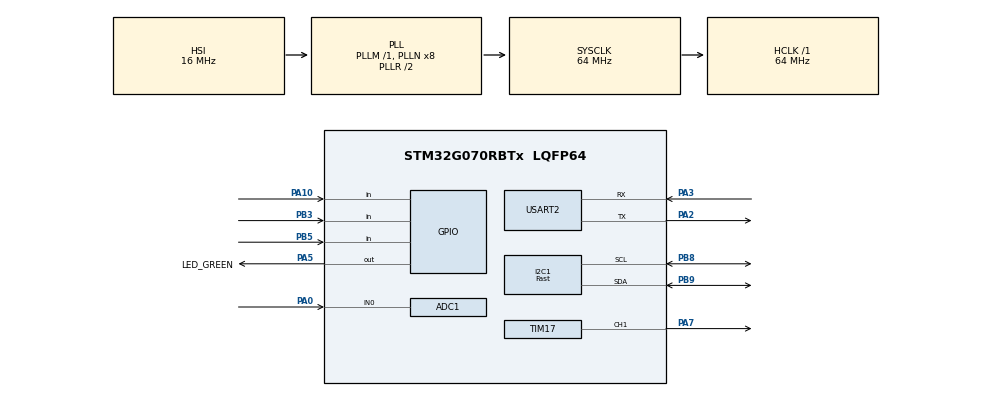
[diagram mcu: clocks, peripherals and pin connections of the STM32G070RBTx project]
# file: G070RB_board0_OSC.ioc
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ADC1.Channel-1\#ChannelRegularConversion=ADC_CHANNEL_0
ADC1.ClockPrescaler=ADC_CLOCK_SYNC_PCLK_DIV2
ADC1.ContinuousConvMode=ENABLE
ADC1.DMAContinuousRequests=DISABLE
ADC1.NbrOfConversion=1
ADC1.NbrOfConversionFlag=1
ADC1.Overrun=ADC_OVR_DATA_OVERWRITTEN
ADC1.Rank-1\#ChannelRegularConversion=1
ADC1.Resolution=ADC_RESOLUTION_6B
ADC1.SamplingTime-1\#ChannelRegularConversion=ADC_SAMPLINGTIME_COMMON_1
ADC1.SamplingTimeCommon1=ADC_SAMPLETIME_1CYCLE_5
ADC1.SamplingTimeCommon2=ADC_SAMPLETIME_1CYCLE_5
ADC1.SelectedChannel=ADC_CHANNEL_0
ADC1.Sequencer=FULLY_CONFIGURABLE
ADC1.master=1
I2C1.I2C_Speed_Mode=I2C_Fast
I2C1.Timing=0x00602173
Mcu.Family=STM32G0
Mcu.Name=STM32G070RBTx
Mcu.Package=LQFP64
NVIC.TIM16_IRQn=true\:0\:0\:false\:false\:true\:true\:true\:true
PA0.Mode=IN0
PA0.Signal=ADC1_IN0
PA10.GPIO_PuPd=GPIO_PULLUP
PA10.Signal=GPIO_Input
PA13.GPIO_Label=TMS
PA13.Mode=Serial_Wire
PA13.Signal=SYS_SWDIO
PA14-BOOT0.GPIO_Label=TCK
PA14-BOOT0.Mode=Serial_Wire
PA14-BOOT0.Signal=SYS_SWCLK
PA2.GPIO_PuPd=GPIO_PULLUP
PA2.Mode=Asynchronous
PA2.Signal=USART2_TX
PA3.GPIO_PuPd=GPIO_PULLUP
PA3.Mode=Asynchronous
PA3.Signal=USART2_RX
PA5.GPIO_Label=LED_GREEN
PA5.GPIO_Speed=GPIO_SPEED_FREQ_HIGH
PA5.Signal=GPIO_Output
PA7.Signal=S_TIM17_CH1
PB3.GPIO_PuPd=GPIO_PULLUP
PB3.Signal=GPIO_Input
PB5.GPIO_PuPd=GPIO_PULLUP
PB5.Signal=GPIO_Input
PB8.Mode=I2C
PB8.Signal=I2C1_SCL
PB9.Mode=I2C
PB9.Signal=I2C1_SDA
PC13.Mode=SYS_WakeUp1
PC13.Signal=SYS_WKUP2
PC14-OSC32_IN\ (PC14).Mode=LSE-External-Oscillator
PC14-OSC32_IN\ (PC14).Signal=RCC_OSC32_IN
PC15-OSC32_OUT\ (PC15).Mode=LSE-External-Oscillator
PC15-OSC32_OUT\ (PC15).Signal=RCC_OSC32_OUT
PF0-OSC_IN\ (PF0).GPIO_Label=MCO
PF0-OSC_IN\ (PF0).Mode=HSE-External-Clock-Source
PF0-OSC_IN\ (PF0).Signal=RCC_OSC_IN
ProjectManager.HeapSize=0x200
ProjectManager.StackSize=0x400
ProjectManager.TargetToolchain=STM32CubeIDE
RCC.ADCFreq_Value=64000000
RCC.AHBFreq_Value=64000000
RCC.CortexFreq_Value=64000000
RCC.EXTERNAL_CLOCK_VALUE=12288000
RCC.HCLKFreq_Value=64000000
RCC.HSE_VALUE=8000000
RCC.HSI_VALUE=16000000
RCC.SYSCLKFreq_VALUE=64000000
RCC.SYSCLKSource=RCC_SYSCLKSOURCE_PLLCLK
RCC.VCOOutputFreq_Value=128000000
SH.S_TIM17_CH1.0=TIM17_CH1,Output Compare1 CH1
TIM16.AutoReloadPreload=TIM_AUTORELOAD_PRELOAD_ENABLE
TIM16.Period=999
TIM16.Prescaler=63
TIM17.AutoReloadPreload=TIM_AUTORELOAD_PRELOAD_ENABLE
TIM17.Channel=TIM_CHANNEL_1
TIM17.OC1Preload=ENABLE
TIM17.OCMode_1=TIM_OCMODE_TOGGLE
TIM17.Period=49
TIM17.Prescaler=63999
TIM17.Pulse=24
USART2.VirtualMode-Asynchronous=VM_ASYNC
USART2.WordLength=WORDLENGTH_7B
VP_TIM16_VS_ClockSourceINT.Mode=Enable_Timer
VP_TIM17_VS_ClockSourceINT.Mode=Enable_Timer
board=NUCLEO-G070RB

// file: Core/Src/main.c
/* USER CODE BEGIN Header */
/**
  ******************************************************************************
  * @file           : main.c
  * @brief          : Main program body
  ******************************************************************************
  * @attention
  *
  * Copyright (c) 2023 STMicroelectronics.
  * All rights reserved.
  *
  * This software is licensed under terms that can be found in the LICENSE file
  * in the root directory of this software component.
  * If no LICENSE file comes with this software, it is provided AS-IS.
  *
  ******************************************************************************
  */
/* USER CODE END Header */
#include "main.h"

/* USER CODE BEGIN Includes */
#include <stdio.h>
#include "my_SSD1306.h"
#include "PushButtons.h"

/* USER CODE END Includes */

ADC_HandleTypeDef hadc1;

I2C_HandleTypeDef hi2c1;

TIM_HandleTypeDef htim16;
TIM_HandleTypeDef htim17;

UART_HandleTypeDef huart2;

/* USER CODE BEGIN PV */

volatile uint16_t ADC_result_buffer[256];
volatile uint8_t ADC_buffer_count=255; // 0 ... 255 running

/* USER CODE END PV */

void SystemClock_Config(void);
static void MX_GPIO_Init(void);
static void MX_USART2_UART_Init(void);
static void MX_I2C1_Init(void);
static void MX_TIM17_Init(void);
static void MX_ADC1_Init(void);
static void MX_TIM16_Init(void);

/* USER CODE BEGIN 0 */
void HAL_TIM_PeriodElapsedCallback(TIM_HandleTypeDef *htim){

    if(htim == &htim16) {
    	if (ADC_buffer_count < 255) {
            HAL_GPIO_TogglePin(GPIOA, GPIO_PIN_5);
            ADC_result_buffer[ADC_buffer_count++]=HAL_ADC_GetValue(&hadc1);
    	}
    }
}
/* USER CODE END 0 */

int main(void)
{
  /* USER CODE BEGIN 1 */
    setbuf(stdout, NULL);
  /* USER CODE END 1 */

  /* MCU Configuration--------------------------------------------------------*/

  /* Reset of all peripherals, Initializes the Flash interface and the Systick. */
  HAL_Init();

  /* Configure the system clock */
  SystemClock_Config();

  /* Initialize all configured peripherals */
  MX_GPIO_Init();
  MX_USART2_UART_Init();
  MX_I2C1_Init();
  MX_TIM17_Init();
  MX_ADC1_Init();
  MX_TIM16_Init();
  /* USER CODE BEGIN 2 */

	HAL_ADCEx_Calibration_Start(&hadc1);

	HAL_ADC_Start(&hadc1);
	//HAL_ADC_Start_DMA(&hadc1, (uint32_t *)&ADC_result_buffer, sizeof(ADC_result_buffer) / sizeof(ADC_result_buffer[0]));
	//HAL_ADC_Start_DMA(&hadc1, (uint32_t *)&ADC_result_buffer, 1);
	//hdma_adc1.Instance->CCR &= ~(DMA_IT_TC | DMA_IT_HT);
	//   __HAL_DMA_DISABLE_IT(&hdma_adc, DMA_IT_TC);
	//__HAL_DMA_DISABLE_IT(&hdma_adc1, DMA_IT_TC);

	HAL_TIM_Base_Start_IT(&htim16);

	HAL_TIM_PWM_Start(&htim17, TIM_CHANNEL_1);

	OLED_Init(&hi2c1);

	OLED_clear(); // and set cursor to 0,0
	//      12345678901234
	printf("Boot nucleo\n");
	printf("  G070RB");

	HAL_Delay(1000);

	OLED_clear(); // and set cursor to 0,0
	//printf("push button\n");

	/*
	 * TIM17 仮PWMの状況を表示する
	 * プリスケーラー 63999 PSC
	 * リロード値 49 ARR
	 * 比較値 24 CCR1
	 *
	 * 周波数 64MHz / (PSC+1) / (ARR+1) = 20Hz
	 * ON Duty = (CCR1 + 1) / (ARR + 1) = 50%
	 *
	 *  PSC  ARR CCR1  Hz Duty
	 * 63999  49  24   20  50
	 * 63999   9   4  100  50
	 *
	 */

	TIM17->PSC = 639;
	TIM17->ARR = 9;
	TIM17->CCR1 = 4;

#if 0
	printf("PSC ARR CCR1\n");
	printf("%d %d %d", TIM17->PSC, TIM17->ARR, TIM17->CCR1);

	while(
			HAL_GPIO_ReadPin(GPIOB, GPIO_PIN_5) &
			HAL_GPIO_ReadPin(GPIOB, GPIO_PIN_3) &
			HAL_GPIO_ReadPin(GPIOA, GPIO_PIN_10)
			) {}

	OLED_clear(); // and set cursor to 0,0
	HAL_Delay(100);
#endif

	printf("TIM17 %dHz\n", 64000000 / ((TIM17->PSC)+1) / ((TIM17->ARR)+1));
	printf("duty %d%%", ((TIM17->CCR1)+1) * 100 / ((TIM17->ARR)+1));

	while(
			HAL_GPIO_ReadPin(GPIOB, GPIO_PIN_5) &
			HAL_GPIO_ReadPin(GPIOB, GPIO_PIN_3) &
			HAL_GPIO_ReadPin(GPIOA, GPIO_PIN_10)
			) {}

	OLED_clear(); // and set cursor to 0,0
	HAL_Delay(100);

	// 上から見て PA10 PB3 PB5 の順番 CPU内プルアップ必要

	Button_Init(GPIOB, GPIO_PIN_5);   // bit 0
	Button_Init(GPIOB, GPIO_PIN_3);   // bit 1
	Button_Init(GPIOA, GPIO_PIN_10);  // bit 2

	enum {
		SAMPLING, STOPPED
	} AD_STATUS = SAMPLING;

	enum {
		RISE, FALL
	} TRIGGER_SELECT = RISE;

	/*
	 * TIM16で割り込みをかけてADしている
	 */

	struct {
		char *name;
		uint16_t prescaler;
		uint16_t reload;
	} sampling_table[] = {
			{ "320k", 24, 7 },
			{ "250k", 31, 7 },
			{ "100k", 63, 9 },
			{ " 50k", 63, 19 },
			{ " 25k", 63, 39 },
			{ " 10k", 63, 99 },
			{ "  5k", 63, 199 },
			{ "2.5k", 63, 399 },
			{ "  1k", 63, 999 },
			{ " 100", 639, 999 }
	};

#define SAMPLING_VALUE_MAX 9

	uint8_t SAMPLING_VALUE = 3;

	/*
	 * 単にSAMPLING_VALUE からペリフェラルレジスタをセットするだけの関数
	 */

	void set_sampling_rate() {
		TIM16->PSC = sampling_table[SAMPLING_VALUE].prescaler;
		TIM16->ARR = sampling_table[SAMPLING_VALUE].reload;
	}

	set_sampling_rate();

  /* USER CODE END 2 */

  /* Infinite loop */
  while (1)
  {

    /* USER CODE BEGIN 3 */

	  /*
	   * とにかく先に状況をを描画する
	   */

	  OLED_set_cursor(0, 2);
	  if (AD_STATUS == SAMPLING) {
		  printf("RUN  ");
	  } else {
		  printf("STOP ");
	  }
	  if (TRIGGER_SELECT == RISE) {
		  printf("_|- ");
	  } else {
		  printf("-|_ ");
	  }
	  printf("%s", sampling_table[SAMPLING_VALUE].name);

	  if (AD_STATUS == SAMPLING) {

		  // AD sampling main

		  ADC_buffer_count = 0; // means start sampling

		  //OLED_set_cursor(0, 0);
		  //printf("Running...");
		  while(ADC_buffer_count < 255) {} // wait finish sampling. stored ADC_result_buffer[0...127]

		  /*
		   * bit 0 -+  display_buffer_0  (AD>>2) = 15
		   * bit 1  |
		   *  ..
		   * bit 7 -+                    (AD>>2) = 8
		   *
		   * bit 0 -+  display_buffer_1  (AD>>2) = 7
		   * bit 1  |
		   *  ..
		   * bit 7 -+                    (AD>>2) = 0
		   *
		   */

		  uint8_t display_buffer_1[256];
		  uint8_t display_buffer_0[256];
		  uint8_t trigger;
		  trigger=0;

		  for (uint8_t i=0; i<255; i++) {
			  ADC_result_buffer[i] = ADC_result_buffer[i] >> 2;
			  uint8_t y0, y1;
			  if (i<1) {
				  y0=ADC_result_buffer[i];
				  y1=y0;
			  } else {
				  if (ADC_result_buffer[i]>ADC_result_buffer[i-1]) {
					  y0=ADC_result_buffer[i-1];
					  y1=ADC_result_buffer[i];
				  } else {
					  y0=ADC_result_buffer[i];
					  y1=ADC_result_buffer[i-1];
				  }
				  /*
				   * ついでにトリガーを探す 100までの限定
				   */
				  if ( (trigger==0) && (i>8) && (i<100) && (y0<8) && (y1>7)){
					  if ((TRIGGER_SELECT == RISE) && (ADC_result_buffer[i-1]<ADC_result_buffer[i])) {
						  trigger=i-8;
					  } else {
						  if ((TRIGGER_SELECT == FALL) && (ADC_result_buffer[i-1]>ADC_result_buffer[i])) {
							  trigger=i-8;
						  }
					  }
				  }

			  }

			  /*  今の値と前の値を使ってバー状にドットを作る。
			   *  0<= y0 <= y1 <= 0
			   *  for example...
			   *  y0=3, y1=10 ... result_0 0b1110 0000 result_1 0b0001 1111
			   *
			   *  y1=10 means result_16_1 = 0b1111 1111 1110 0000 = (0xffff) << (15-y1)
			   *  y0=3  means result_16_0 = 0b0001 1111 1111 1111 = (0xffff) >> y0
			   *                               AND       AND
			   *                             result_1   result_0
			   */

			  uint16_t result_16_1 = (0xffff) << (15-y1);
			  uint16_t result_16_0 = (0xffff) >> y0;
			  display_buffer_0[i] = ( result_16_1 & result_16_0 ) & 0xff;
			  display_buffer_1[i] = ( result_16_1 & result_16_0 ) >> 8;
		  }

		  OLED_set_cursor(0, 0);
		  //OLED_put_len(&ADC_result_buffer, 128);
//		  OLED_put_len(trigger + (&display_buffer_0), 128);
		  OLED_put_len((uint8_t *)&display_buffer_0+trigger, 128);
		  OLED_set_cursor(0, 1);
		  OLED_put_len((uint8_t *)&display_buffer_1+trigger, 128);

		  //OLED_set_cursor(0, 0);
		  //printf("%d %d %d  ", ADC_result_buffer[0], TIM16->PSC, TIM16->ARR);

	  }

	  //   PA10 PB3 PB5
	  // bit 2   1   0

	uint32_t k = Button_Loop();
	if (k) {
		Button_Clear();
		if (AD_STATUS == SAMPLING) {
			if (k & 0b100) {
				// TRIGGER_SELECT = (!(TRIGGER_SELECT)) & 1;
				AD_STATUS = STOPPED;
			} else {
				// change sampling rate
				// TIM16->PSC, TIM16->ARR
				if (k & 0b10) {
					if (SAMPLING_VALUE>0) { SAMPLING_VALUE--; }
				} else {
					if (SAMPLING_VALUE < SAMPLING_VALUE_MAX) { SAMPLING_VALUE++; }
				}
				/*
				TIM16->PSC = sampling_table[SAMPLING_VALUE].prescaler;
				TIM16->ARR = sampling_table[SAMPLING_VALUE].reload;
				 */
				set_sampling_rate();
			}
		} else {
			if (k & 0b100) {
				// TRIGGER_SELECT = (!(TRIGGER_SELECT)) & 1;
				AD_STATUS = SAMPLING;
			} else {
				if (k & 0b10) {
					TRIGGER_SELECT=FALL;
				} else {
					TRIGGER_SELECT=RISE;
				}
			}
		}
	}

  }
  /* USER CODE END 3 */
}

void SystemClock_Config(void)
{
  RCC_OscInitTypeDef RCC_OscInitStruct = {0};
  RCC_ClkInitTypeDef RCC_ClkInitStruct = {0};

  /** Configure the main internal regulator output voltage
  */
  HAL_PWREx_ControlVoltageScaling(PWR_REGULATOR_VOLTAGE_SCALE1);

  /** Initializes the RCC Oscillators according to the specified parameters
  * in the RCC_OscInitTypeDef structure.
  */
  RCC_OscInitStruct.OscillatorType = RCC_OSCILLATORTYPE_HSI;
  RCC_OscInitStruct.HSIState = RCC_HSI_ON;
  RCC_OscInitStruct.HSIDiv = RCC_HSI_DIV1;
  RCC_OscInitStruct.HSICalibrationValue = RCC_HSICALIBRATION_DEFAULT;
  RCC_OscInitStruct.PLL.PLLState = RCC_PLL_ON;
  RCC_OscInitStruct.PLL.PLLSource = RCC_PLLSOURCE_HSI;
  RCC_OscInitStruct.PLL.PLLM = RCC_PLLM_DIV1;
  RCC_OscInitStruct.PLL.PLLN = 8;
  RCC_OscInitStruct.PLL.PLLP = RCC_PLLP_DIV2;
  RCC_OscInitStruct.PLL.PLLR = RCC_PLLR_DIV2;
  if (HAL_RCC_OscConfig(&RCC_OscInitStruct) != HAL_OK)
  {
    Error_Handler();
  }

  /** Initializes the CPU, AHB and APB buses clocks
  */
  RCC_ClkInitStruct.ClockType = RCC_CLOCKTYPE_HCLK|RCC_CLOCKTYPE_SYSCLK
                              |RCC_CLOCKTYPE_PCLK1;
  RCC_ClkInitStruct.SYSCLKSource = RCC_SYSCLKSOURCE_PLLCLK;
  RCC_ClkInitStruct.AHBCLKDivider = RCC_SYSCLK_DIV1;
  RCC_ClkInitStruct.APB1CLKDivider = RCC_HCLK_DIV1;

  if (HAL_RCC_ClockConfig(&RCC_ClkInitStruct, FLASH_LATENCY_2) != HAL_OK)
  {
    Error_Handler();
  }
}

static void MX_ADC1_Init(void)
{

  ADC_ChannelConfTypeDef sConfig = {0};

  /** Configure the global features of the ADC (Clock, Resolution, Data Alignment and number of conversion)
  */
  hadc1.Instance = ADC1;
  hadc1.Init.ClockPrescaler = ADC_CLOCK_SYNC_PCLK_DIV2;
  hadc1.Init.Resolution = ADC_RESOLUTION_6B;
  hadc1.Init.DataAlign = ADC_DATAALIGN_RIGHT;
  hadc1.Init.ScanConvMode = ADC_SCAN_DISABLE;
  hadc1.Init.EOCSelection = ADC_EOC_SINGLE_CONV;
  hadc1.Init.LowPowerAutoWait = DISABLE;
  hadc1.Init.LowPowerAutoPowerOff = DISABLE;
  hadc1.Init.ContinuousConvMode = ENABLE;
  hadc1.Init.NbrOfConversion = 1;
  hadc1.Init.ExternalTrigConv = ADC_SOFTWARE_START;
  hadc1.Init.ExternalTrigConvEdge = ADC_EXTERNALTRIGCONVEDGE_NONE;
  hadc1.Init.DMAContinuousRequests = DISABLE;
  hadc1.Init.Overrun = ADC_OVR_DATA_OVERWRITTEN;
  hadc1.Init.SamplingTimeCommon1 = ADC_SAMPLETIME_1CYCLE_5;
  hadc1.Init.SamplingTimeCommon2 = ADC_SAMPLETIME_1CYCLE_5;
  hadc1.Init.OversamplingMode = DISABLE;
  hadc1.Init.TriggerFrequencyMode = ADC_TRIGGER_FREQ_HIGH;
  if (HAL_ADC_Init(&hadc1) != HAL_OK)
  {
    Error_Handler();
  }

  /** Configure Regular Channel
  */
  sConfig.Channel = ADC_CHANNEL_0;
  sConfig.Rank = ADC_REGULAR_RANK_1;
  sConfig.SamplingTime = ADC_SAMPLINGTIME_COMMON_1;
  if (HAL_ADC_ConfigChannel(&hadc1, &sConfig) != HAL_OK)
  {
    Error_Handler();
  }

}

static void MX_I2C1_Init(void)
{

  hi2c1.Instance = I2C1;
  hi2c1.Init.Timing = 0x00602173;
  hi2c1.Init.OwnAddress1 = 0;
  hi2c1.Init.AddressingMode = I2C_ADDRESSINGMODE_7BIT;
  hi2c1.Init.DualAddressMode = I2C_DUALADDRESS_DISABLE;
  hi2c1.Init.OwnAddress2 = 0;
  hi2c1.Init.OwnAddress2Masks = I2C_OA2_NOMASK;
  hi2c1.Init.GeneralCallMode = I2C_GENERALCALL_DISABLE;
  hi2c1.Init.NoStretchMode = I2C_NOSTRETCH_DISABLE;
  if (HAL_I2C_Init(&hi2c1) != HAL_OK)
  {
    Error_Handler();
  }

  /** Configure Analogue filter
  */
  if (HAL_I2CEx_ConfigAnalogFilter(&hi2c1, I2C_ANALOGFILTER_ENABLE) != HAL_OK)
  {
    Error_Handler();
  }

  /** Configure Digital filter
  */
  if (HAL_I2CEx_ConfigDigitalFilter(&hi2c1, 0) != HAL_OK)
  {
    Error_Handler();
  }

}

static void MX_TIM16_Init(void)
{

  htim16.Instance = TIM16;
  htim16.Init.Prescaler = 63;
  htim16.Init.CounterMode = TIM_COUNTERMODE_UP;
  htim16.Init.Period = 999;
  htim16.Init.ClockDivision = TIM_CLOCKDIVISION_DIV1;
  htim16.Init.RepetitionCounter = 0;
  htim16.Init.AutoReloadPreload = TIM_AUTORELOAD_PRELOAD_ENABLE;
  if (HAL_TIM_Base_Init(&htim16) != HAL_OK)
  {
    Error_Handler();
  }

}

static void MX_TIM17_Init(void)
{

  TIM_OC_InitTypeDef sConfigOC = {0};
  TIM_BreakDeadTimeConfigTypeDef sBreakDeadTimeConfig = {0};

  htim17.Instance = TIM17;
  htim17.Init.Prescaler = 63999;
  htim17.Init.CounterMode = TIM_COUNTERMODE_UP;
  htim17.Init.Period = 49;
  htim17.Init.ClockDivision = TIM_CLOCKDIVISION_DIV1;
  htim17.Init.RepetitionCounter = 0;
  htim17.Init.AutoReloadPreload = TIM_AUTORELOAD_PRELOAD_ENABLE;
  if (HAL_TIM_Base_Init(&htim17) != HAL_OK)
  {
    Error_Handler();
  }
  if (HAL_TIM_OC_Init(&htim17) != HAL_OK)
  {
    Error_Handler();
  }
  sConfigOC.OCMode = TIM_OCMODE_TOGGLE;
  sConfigOC.Pulse = 24;
  sConfigOC.OCPolarity = TIM_OCPOLARITY_HIGH;
  sConfigOC.OCNPolarity = TIM_OCNPOLARITY_HIGH;
  sConfigOC.OCFastMode = TIM_OCFAST_DISABLE;
  sConfigOC.OCIdleState = TIM_OCIDLESTATE_RESET;
  sConfigOC.OCNIdleState = TIM_OCNIDLESTATE_RESET;
  if (HAL_TIM_OC_ConfigChannel(&htim17, &sConfigOC, TIM_CHANNEL_1) != HAL_OK)
  {
    Error_Handler();
  }
  __HAL_TIM_ENABLE_OCxPRELOAD(&htim17, TIM_CHANNEL_1);
  sBreakDeadTimeConfig.OffStateRunMode = TIM_OSSR_DISABLE;
  sBreakDeadTimeConfig.OffStateIDLEMode = TIM_OSSI_DISABLE;
  sBreakDeadTimeConfig.LockLevel = TIM_LOCKLEVEL_OFF;
  sBreakDeadTimeConfig.DeadTime = 0;
  sBreakDeadTimeConfig.BreakState = TIM_BREAK_DISABLE;
  sBreakDeadTimeConfig.BreakPolarity = TIM_BREAKPOLARITY_HIGH;
  sBreakDeadTimeConfig.BreakFilter = 0;
  sBreakDeadTimeConfig.AutomaticOutput = TIM_AUTOMATICOUTPUT_DISABLE;
  if (HAL_TIMEx_ConfigBreakDeadTime(&htim17, &sBreakDeadTimeConfig) != HAL_OK)
  {
    Error_Handler();
  }
  HAL_TIM_MspPostInit(&htim17);

}

static void MX_USART2_UART_Init(void)
{

  huart2.Instance = USART2;
  huart2.Init.BaudRate = 115200;
  huart2.Init.WordLength = UART_WORDLENGTH_7B;
  huart2.Init.StopBits = UART_STOPBITS_1;
  huart2.Init.Parity = UART_PARITY_NONE;
  huart2.Init.Mode = UART_MODE_TX_RX;
  huart2.Init.HwFlowCtl = UART_HWCONTROL_NONE;
  huart2.Init.OverSampling = UART_OVERSAMPLING_16;
  huart2.Init.OneBitSampling = UART_ONE_BIT_SAMPLE_DISABLE;
  huart2.Init.ClockPrescaler = UART_PRESCALER_DIV1;
  huart2.AdvancedInit.AdvFeatureInit = UART_ADVFEATURE_NO_INIT;
  if (HAL_UART_Init(&huart2) != HAL_OK)
  {
    Error_Handler();
  }
  if (HAL_UARTEx_SetTxFifoThreshold(&huart2, UART_TXFIFO_THRESHOLD_1_8) != HAL_OK)
  {
    Error_Handler();
  }
  if (HAL_UARTEx_SetRxFifoThreshold(&huart2, UART_RXFIFO_THRESHOLD_1_8) != HAL_OK)
  {
    Error_Handler();
  }
  if (HAL_UARTEx_DisableFifoMode(&huart2) != HAL_OK)
  {
    Error_Handler();
  }

}

static void MX_GPIO_Init(void)
{
  GPIO_InitTypeDef GPIO_InitStruct = {0};

  /* GPIO Ports Clock Enable */
  __HAL_RCC_GPIOC_CLK_ENABLE();
  __HAL_RCC_GPIOF_CLK_ENABLE();
  __HAL_RCC_GPIOA_CLK_ENABLE();
  __HAL_RCC_GPIOB_CLK_ENABLE();

  /*Configure GPIO pin Output Level */
  HAL_GPIO_WritePin(LED_GREEN_GPIO_Port, LED_GREEN_Pin, GPIO_PIN_RESET);

  /*Configure GPIO pin : LED_GREEN_Pin */
  GPIO_InitStruct.Pin = LED_GREEN_Pin;
  GPIO_InitStruct.Mode = GPIO_MODE_OUTPUT_PP;
  GPIO_InitStruct.Pull = GPIO_NOPULL;
  GPIO_InitStruct.Speed = GPIO_SPEED_FREQ_HIGH;
  HAL_GPIO_Init(LED_GREEN_GPIO_Port, &GPIO_InitStruct);

  /*Configure GPIO pin : PA10 */
  GPIO_InitStruct.Pin = GPIO_PIN_10;
  GPIO_InitStruct.Mode = GPIO_MODE_INPUT;
  GPIO_InitStruct.Pull = GPIO_PULLUP;
  HAL_GPIO_Init(GPIOA, &GPIO_InitStruct);

  /*Configure GPIO pins : PB3 PB5 */
  GPIO_InitStruct.Pin = GPIO_PIN_3|GPIO_PIN_5;
  GPIO_InitStruct.Mode = GPIO_MODE_INPUT;
  GPIO_InitStruct.Pull = GPIO_PULLUP;
  HAL_GPIO_Init(GPIOB, &GPIO_InitStruct);

}

/* USER CODE BEGIN 4 */

// printf from
// https://yukblog.net/stm32cubeide-printf-uart/

int _write(int file, char *ptr, int len)
{
  //HAL_UART_Transmit(&huart2,(uint8_t *)ptr,len,10);
	for (int i=0; i<len; i++) {
		OLED_put_c(ptr[i]);
	}
  return len;
}

/* USER CODE END 4 */

void Error_Handler(void)
{
  __disable_irq();
  while (1)
  {
  }
}
